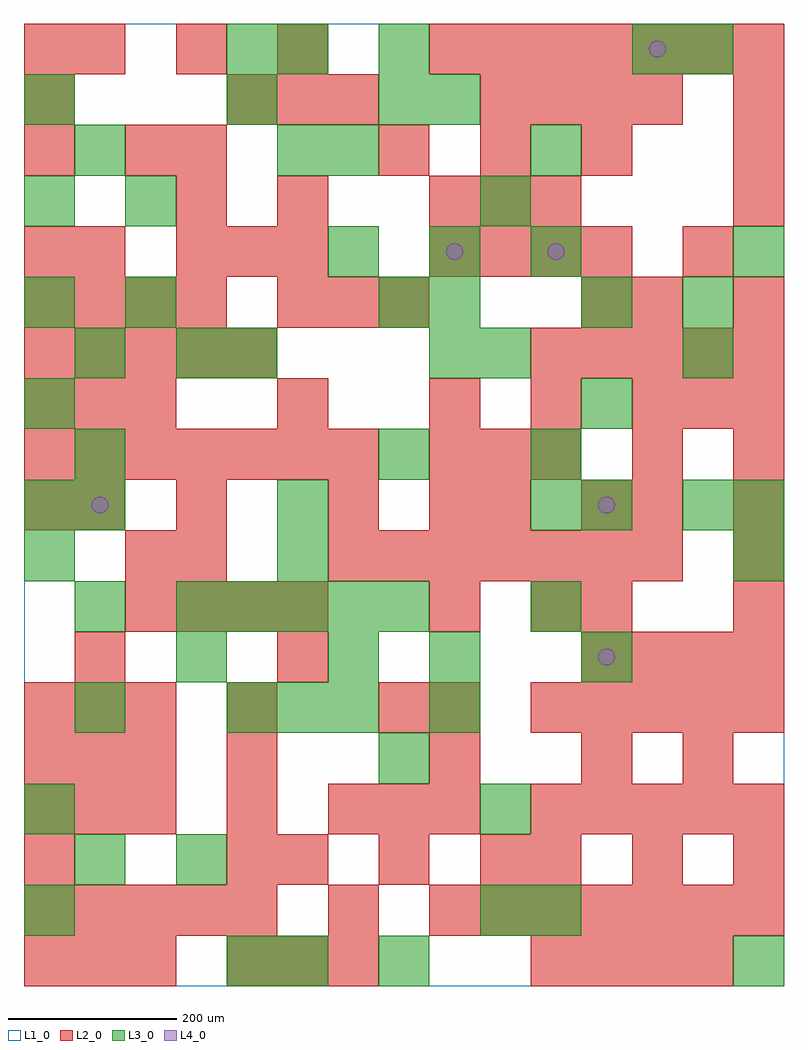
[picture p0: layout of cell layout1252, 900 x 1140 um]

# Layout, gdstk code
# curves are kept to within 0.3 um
import gdstk
lib = gdstk.Library(unit=1e-6, precision=1e-09)
def R(c, l, rs):  # rectangles x0, y0, x1, y1
    for r in rs: c.add(gdstk.rectangle(r[:2], r[2:], *l))
def A(c, l, x, y, w, h, nx, ny, dx, dy):  # array of equal rectangles
    R(c, l, [(x+i*dx, y+j*dy, x+i*dx+w, y+j*dy+h) for i in range(nx) for j in range(ny)])
def P(c, l, *ps):  # polygons
    for p in ps: c.add(gdstk.Polygon(p, *l))
L1_0 = (1, 0)
L2_0 = (2, 0)
L3_0 = (3, 0)
L4_0 = (4, 0)

layout1252 = lib.new_cell('layout1252')
R(layout1252, L1_0, [(0,0,900,1140)])
A(layout1252, L2_0, 0, 0, 60, 60, 3, 2, 60, 180)
A(layout1252, L2_0, 240, 0, 60, 60, 3, 2, 60, 1020)
A(layout1252, L2_0, 600, 0, 60, 60, 4, 1, 60, 0)
A(layout1252, L2_0, 0, 60, 60, 60, 5, 2, 60, 660)
A(layout1252, L2_0, 480, 60, 60, 60, 7, 2, 60, 1020)
A(layout1252, L2_0, 240, 120, 60, 60, 1, 4, 0, 60)
A(layout1252, L2_0, 300, 120, 60, 60, 3, 1, 120, 0)
A(layout1252, L2_0, 600, 120, 60, 60, 3, 1, 120, 0)
A(layout1252, L2_0, 360, 180, 60, 60, 3, 1, 60, 0)
A(layout1252, L2_0, 600, 180, 60, 60, 5, 2, 60, 120)
A(layout1252, L2_0, 0, 240, 60, 60, 3, 2, 60, 60)
A(layout1252, L2_0, 480, 300, 60, 60, 1, 3, 0, 120)
A(layout1252, L2_0, 660, 360, 60, 60, 4, 1, 60, 0)
A(layout1252, L2_0, 120, 420, 60, 60, 4, 1, 60, 0)
A(layout1252, L2_0, 840, 420, 60, 60, 1, 5, 0, 60)
A(layout1252, L2_0, 360, 480, 60, 60, 7, 1, 60, 0)
A(layout1252, L2_0, 0, 600, 60, 60, 7, 1, 60, 0)
A(layout1252, L2_0, 480, 600, 60, 60, 3, 2, 60, 300)
A(layout1252, L2_0, 0, 660, 60, 60, 3, 1, 60, 0)
A(layout1252, L2_0, 480, 660, 60, 60, 3, 1, 120, 0)
A(layout1252, L2_0, 600, 720, 60, 60, 5, 1, 60, 0)
A(layout1252, L2_0, 0, 780, 60, 60, 4, 1, 60, 0)
A(layout1252, L2_0, 300, 780, 60, 60, 3, 1, 60, 0)
A(layout1252, L2_0, 180, 840, 60, 60, 3, 1, 60, 0)
A(layout1252, L2_0, 480, 840, 60, 60, 4, 1, 60, 0)
A(layout1252, L2_0, 840, 900, 60, 60, 1, 3, 0, 60)
A(layout1252, L2_0, 0, 960, 60, 60, 1, 3, 0, 60)
A(layout1252, L2_0, 420, 960, 60, 60, 3, 1, 120, 0)
A(layout1252, L2_0, 540, 1020, 60, 60, 4, 1, 60, 0)
A(layout1252, L2_0, 60, 1080, 60, 60, 3, 1, 120, 0)
R(layout1252, L2_0, [(360,60,420,120), (0,120,60,180), (480,240,540,300), (660,240,720,300), (780,240,840,300), (420,300,480,360), (60,360,120,420), (300,360,360,420), (600,420,660,480), (660,420,720,480), (120,480,180,540), (180,480,240,540), (0,540,60,600), (60,540,120,600), (180,540,240,600), (360,540,420,600), (540,540,600,600), (660,540,720,600), (720,540,780,600), (720,600,780,660), (300,660,360,720), (780,660,840,720), (660,780,720,840), (720,780,780,840), (840,780,900,840), (0,840,60,900), (60,840,120,900), (780,840,840,900), (180,900,240,960), (300,900,360,960), (120,960,180,1020), (180,960,240,1020)])
A(layout1252, L3_0, 60, 300, 60, 60, 1, 3, 0, 120)
A(layout1252, L3_0, 240, 300, 60, 60, 3, 1, 60, 0)
A(layout1252, L3_0, 180, 420, 60, 60, 5, 1, 60, 0)
A(layout1252, L3_0, 0, 540, 60, 60, 1, 5, 0, 120)
A(layout1252, L3_0, 660, 540, 60, 60, 1, 3, 0, 120)
A(layout1252, L3_0, 360, 840, 60, 60, 3, 1, 120, 0)
R(layout1252, L3_0, [(240,0,300,60), (300,0,360,60), (420,0,480,60), (840,0,900,60), (0,60,60,120), (540,60,600,120), (600,60,660,120), (60,120,120,180), (180,120,240,180), (0,180,60,240), (540,180,600,240), (420,240,480,300), (480,300,540,360), (180,360,240,420), (360,360,420,420), (480,360,540,420), (660,360,720,420), (600,420,660,480), (0,480,60,540), (300,480,360,540), (840,480,900,540), (300,540,360,600), (600,540,660,600), (780,540,840,600), (840,540,900,600), (60,600,120,660), (420,600,480,660), (600,600,660,660), (60,720,120,780), (180,720,240,780), (240,720,300,780), (480,720,540,780), (540,720,600,780), (780,720,840,780), (120,780,180,840), (420,780,480,840), (480,780,540,840), (780,780,840,840), (840,840,900,900), (120,900,180,960), (540,900,600,960), (60,960,120,1020), (300,960,360,1020), (360,960,420,1020), (600,960,660,1020), (240,1020,300,1080), (420,1020,480,1080), (480,1020,540,1080), (240,1080,300,1140), (300,1080,360,1140), (420,1080,480,1140), (720,1080,780,1140), (780,1080,840,1140)])
P(layout1252, L4_0, [(100,570),(99.239,573.827),(97.071,577.071),(93.827,579.239),(90,580),(86.173,579.239),(82.929,577.071),(80.761,573.827),(80,570),(80.761,566.173),(82.929,562.929),(86.173,560.761),(90,560),(93.827,560.761),(97.071,562.929),(99.239,566.173)],
  [(520,870),(519.239,873.827),(517.071,877.071),(513.827,879.239),(510,880),(506.173,879.239),(502.929,877.071),(500.761,873.827),(500,870),(500.761,866.173),(502.929,862.929),(506.173,860.761),(510,860),(513.827,860.761),(517.071,862.929),(519.239,866.173)],
  [(640,870),(639.239,873.827),(637.071,877.071),(633.827,879.239),(630,880),(626.173,879.239),(622.929,877.071),(620.761,873.827),(620,870),(620.761,866.173),(622.929,862.929),(626.173,860.761),(630,860),(633.827,860.761),(637.071,862.929),(639.239,866.173)],
  [(700,390),(699.239,393.827),(697.071,397.071),(693.827,399.239),(690,400),(686.173,399.239),(682.929,397.071),(680.761,393.827),(680,390),(680.761,386.173),(682.929,382.929),(686.173,380.761),(690,380),(693.827,380.761),(697.071,382.929),(699.239,386.173)],
  [(700,570),(699.239,573.827),(697.071,577.071),(693.827,579.239),(690,580),(686.173,579.239),(682.929,577.071),(680.761,573.827),(680,570),(680.761,566.173),(682.929,562.929),(686.173,560.761),(690,560),(693.827,560.761),(697.071,562.929),(699.239,566.173)],
  [(760,1110),(759.239,1113.827),(757.071,1117.071),(753.827,1119.239),(750,1120),(746.173,1119.239),(742.929,1117.071),(740.761,1113.827),(740,1110),(740.761,1106.173),(742.929,1102.929),(746.173,1100.761),(750,1100),(753.827,1100.761),(757.071,1102.929),(759.239,1106.173)])

lib.write_gds('layout1252.gds')
